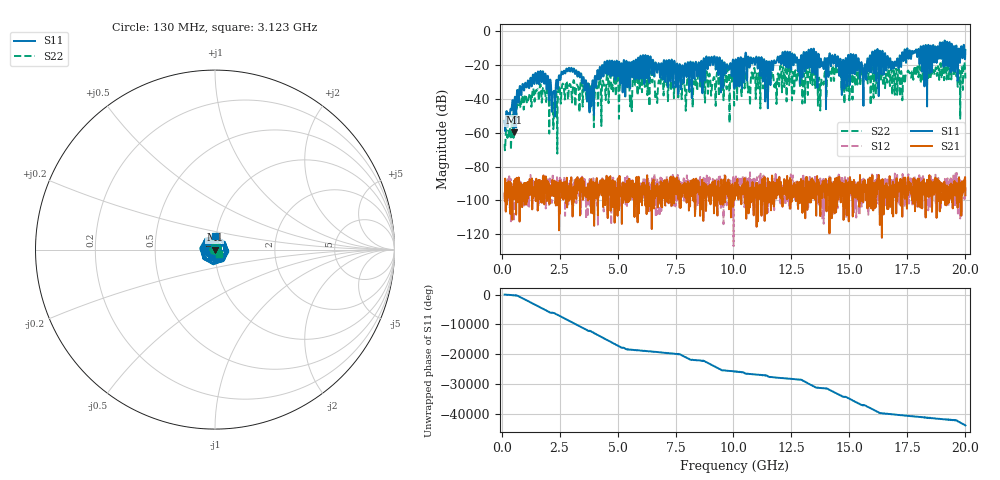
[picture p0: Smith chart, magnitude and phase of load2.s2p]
!Created with skrf (http://scikit-rf.org).
# GHz S RI R 50.0
!freq ReS11 ImS11 ReS21 ImS21 ReS12 ImS12 ReS22 ImS22
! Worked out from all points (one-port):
!   1601 points, 130 MHz to 20 GHz, reference 50 ohm
!   lowest |S11| = -59.8 dB at 527.4 MHz (marker M1), VSWR 1.00, Z = 49.9 - j0.00576 ohm
!   |S11| at or under -10 dB: start of sweep to 18.06 GHz; 18.0974 GHz to 18.16874 GHz (71.34 MHz wide, 0.393 % of centre); 19.63 GHz to 19.8 GHz (174.4 MHz wide, 0.885 % of centre) (the widest 3 of 19)
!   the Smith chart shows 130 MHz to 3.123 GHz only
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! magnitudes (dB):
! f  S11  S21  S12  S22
! 130 MHz  -53.0  -96.4  -94.8  -66.8
! 527.4 MHz  -59.8  -99.2  -112.6  -52.3
! 1.508 GHz  -30.3  -97.5  -95.3  -35.2
! 2.229 GHz  -36.2  -94.5  -91.5  -57.9
! 2.688 GHz  -23.4  -98.1  -89.9  -34.2
! 3.446 GHz  -26.0  -92.8  -91.7  -29.1
! 3.781 GHz  -44.7  -93.3  -87.3  -32.5
! 4.539 GHz  -18.0  -91.6  -96.3  -26.3
! 5.383 GHz  -17.5  -96.5  -95.9  -32.0
! 5.545 GHz  -33.9  -99.7  -87.5  -44.5
! 6.166 GHz  -21.5  -96.4  -88.2  -30.2
! 6.762 GHz  -19.0  -101.9  -90.9  -30.4
! 7.308 GHz  -19.1  -101.0  -102.7  -35.3
! 7.867 GHz  -27.3  -91.2  -96.0  -30.2
! 10.06 GHz  -19.3  -89.9  -93.0  -22.8
! 13.38 GHz  -13.8  -92.5  -89.5  -25.4
! 13.73 GHz  -20.1  -95.5  -88.0  -35.4
! 14.34 GHz  -17.4  -89.0  -98.9  -29.4
! 15.64 GHz  -22.1  -92.5  -92.2  -22.5
! 16.04 GHz  -21.8  -91.2  -93.8  -39.5
! 16.7 GHz  -21.8  -92.4  -95.8  -22.2
! 20 GHz  -11.1  -97.0  -94.5  -28.0
